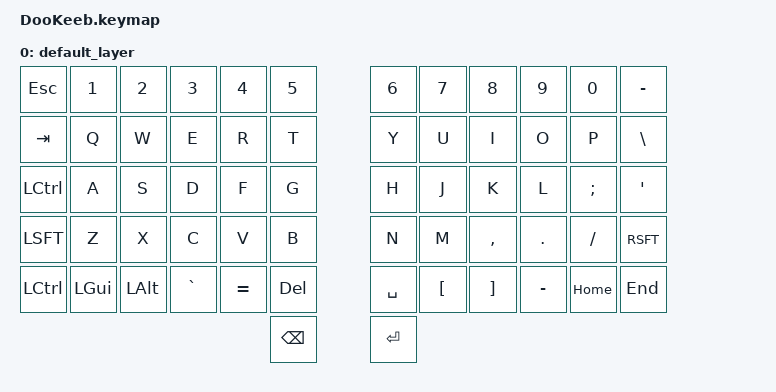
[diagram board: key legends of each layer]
/*
 * Copyright (c) 2020 The ZMK Contributors
 *
 * SPDX-License-Identifier: MIT
 */


#include <behaviors.dtsi>
#include <dt-bindings/zmk/keys.h>

/ {
	keymap {
		compatible = "zmk,keymap";

		default_layer {
// ------------------------------------------------------------------------------------------------------------
// |  ESC  |  1  |  2  |  3   |  4   |  5   |                   |  6   |  7    |  8    |  9   |   0   |   -   |
// |  TAB  |  Q  |  W  |  E   |  R   |  T   |                   |  Y   |  U    |  I    |  O   |   P   |   \   |
// |  CTRL |  A  |  S  |  D   |  F   |  G   |                   |  H   |  J    |  K    |  L   |   ;   |   '   |
// | SHIFT |  Z  |  X  |  C   |  V   |  B   |                   |  N   |  M    |  ,    |  .   |   /   | SHIFT |
// | LCTL  | LGUI  | LALT |  GRAV |  | EQL | DEL | BKSP|  | RET | SPC  | LBKT |  RBKT  | LBKT | HOME  |   END |
			bindings = <
&kp ESC  &kp NUM_1 &kp NUM_2 &kp NUM_3 &kp NUM_4 &kp NUM_5                    &kp NUM_6 &kp NUM_7 &kp NUM_8 &kp NUM_9 &kp NUM_0 &kp MINUS
&kp TAB  &kp Q     &kp W     &kp E     &kp R     &kp T                        &kp Y     &kp U     &kp I     &kp O     &kp P     &kp BSLH
&kp LCTL &kp A     &kp S     &kp D     &kp F     &kp G                        &kp H     &kp J     &kp K     &kp L     &kp SCLN  &kp QUOT
&kp LSFT &kp Z     &kp X     &kp C     &kp V     &kp B                        &kp N     &kp M     &kp CMMA  &kp DOT   &kp FSLH  &kp RSFT
&kp LCTL  &kp LGUI  &kp LALT &kp GRAV   &kp EQL  &kp DEL                     &kp SPC  &kp LBKT    &kp RBKT   &kp MINUS  &kp HOME   &kp END
                                                 &kp BKSP                    &kp RET
			>;
		};
	};
};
